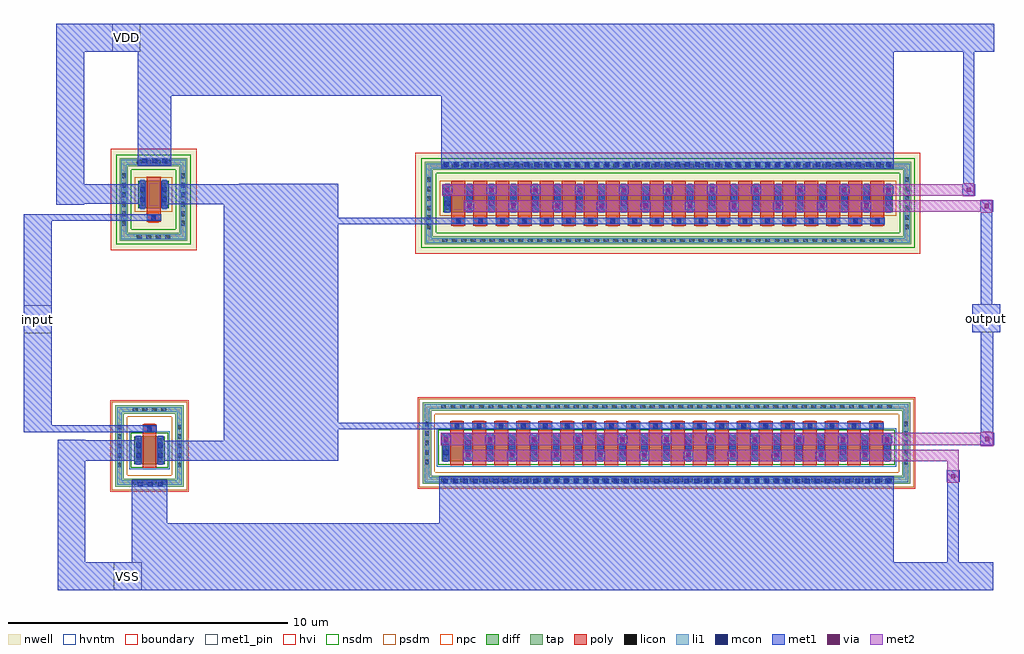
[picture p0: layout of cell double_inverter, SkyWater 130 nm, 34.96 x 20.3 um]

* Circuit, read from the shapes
.subckt double_inverter VDD VSS input output
XM1 sky130_fd_pr__nfet_g5v0d10v5_RGPY9J_2/G0 input VSS VSS sky130_fd_pr__nfet_g5v0d10v5 w=1 l=0.5
XM2 VSS sky130_fd_pr__nfet_g5v0d10v5_RGPY9J_2/G0 output VSS sky130_fd_pr__nfet_g5v0d10v5 w=1 l=0.5 m=20
XM3 sky130_fd_pr__nfet_g5v0d10v5_RGPY9J_2/G0 input VDD VDD sky130_fd_pr__pfet_g5v0d10v5 w=1 l=0.5
XM4 output sky130_fd_pr__nfet_g5v0d10v5_RGPY9J_2/G0 VDD VDD sky130_fd_pr__pfet_g5v0d10v5 w=1 l=0.5 m=20
.ends

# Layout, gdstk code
import gdstk
lib = gdstk.Library(unit=1e-6, precision=1e-09)
def R(c, l, rs):  # rectangles x0, y0, x1, y1
    for r in rs: c.add(gdstk.rectangle(r[:2], r[2:], *l))
def A(c, l, x, y, w, h, nx, ny, dx, dy):  # array of equal rectangles
    R(c, l, [(x+i*dx, y+j*dy, x+i*dx+w, y+j*dy+h) for i in range(nx) for j in range(ny)])
nwell = (64, 20)
diff = (65, 20)
tap = (65, 44)
poly = (66, 20)
licon = (66, 44)
li1 = (67, 20)
mcon = (67, 44)
met1_pin = (68, 16)
met1 = (68, 20)
via = (68, 44)
met2 = (69, 20)
hvi = (75, 20)
nsdm = (93, 44)
psdm = (94, 20)
npc = (95, 20)
hvntm = (125, 20)
boundary = (235, 4)

sky130_fd_pr__nfet_g5v0d = lib.new_cell('sky130_fd_pr__nfet_g5v0d10v5_AWMRGD')
R(sky130_fd_pr__nfet_g5v0d, diff, [(-0.54,-0.655,0.54,0.345)])
R(sky130_fd_pr__nfet_g5v0d, tap, [(-1.22,-1.455,1.22,-1.165), (-1.22,-1.165,-0.93,1.165), (0.93,-1.165,1.22,1.165), (-1.22,1.165,1.22,1.455)])
R(sky130_fd_pr__nfet_g5v0d, poly, [(-0.25,-0.785,0.25,0.785)])
A(sky130_fd_pr__nfet_g5v0d, licon, -0.595, -1.395, 0.17, 0.17, 4, 2, 0.34, 2.62)
A(sky130_fd_pr__nfet_g5v0d, licon, -1.16, -0.765, 0.17, 0.17, 1, 5, 0, 0.34)
A(sky130_fd_pr__nfet_g5v0d, licon, 0.99, -0.765, 0.17, 0.17, 1, 5, 0, 0.34)
A(sky130_fd_pr__nfet_g5v0d, licon, -0.48, -0.58, 0.17, 0.17, 1, 3, 0, 0.34)
A(sky130_fd_pr__nfet_g5v0d, licon, 0.31, -0.58, 0.17, 0.17, 1, 3, 0, 0.34)
R(sky130_fd_pr__nfet_g5v0d, licon, [(-0.085,0.535,0.085,0.705)])
R(sky130_fd_pr__nfet_g5v0d, li1, [(-1.16,-1.395,1.16,-1.225), (-1.16,-1.225,-0.99,1.225), (0.99,-1.225,1.16,1.225), (-0.48,-0.675,-0.31,0.365), (0.31,-0.675,0.48,0.365), (-0.25,0.535,0.25,0.705), (-1.16,1.225,1.16,1.395)])
R(sky130_fd_pr__nfet_g5v0d, mcon, [(-0.48,-0.42,-0.31,-0.25), (0.31,-0.42,0.48,-0.25), (-0.48,-0.06,-0.31,0.11), (0.31,-0.06,0.48,0.11), (-0.085,0.535,0.085,0.705)])
R(sky130_fd_pr__nfet_g5v0d, met1, [(-0.51,-0.655,-0.28,0.345), (0.28,-0.655,0.51,0.345), (-0.23,0.505,0.23,0.735)])
R(sky130_fd_pr__nfet_g5v0d, hvi, [(-1.405,-1.64,1.405,1.64)])
R(sky130_fd_pr__nfet_g5v0d, nsdm, [(-0.665,-0.78,0.665,0.47)])
R(sky130_fd_pr__nfet_g5v0d, psdm, [(-1.345,-1.58,1.345,-1.04), (-1.345,-1.04,-0.805,1.04), (0.805,-1.04,1.345,1.04), (-1.345,1.04,1.345,1.58)])
R(sky130_fd_pr__nfet_g5v0d, npc, [(-0.185,0.435,0.185,0.805)])
R(sky130_fd_pr__nfet_g5v0d, hvntm, [(-0.725,-0.84,0.725,0.53)])
R(sky130_fd_pr__nfet_g5v0d, boundary, [(-1.075,-1.31,1.075,1.31)])
sky130_fd_pr__nfet_g5v0d.add(gdstk.Label('B', (0,-1.31), layer=67, texttype=5))
sky130_fd_pr__nfet_g5v0d.add(gdstk.Label('D', (-0.395,-0.155), layer=67, texttype=5))
sky130_fd_pr__nfet_g5v0d.add(gdstk.Label('S', (0.395,-0.155), layer=67, texttype=5))
sky130_fd_pr__nfet_g5v0d.add(gdstk.Label('G', (0,0.62), layer=67, texttype=5))

sky130_fd_pr__pfet_g5v0d = lib.new_cell('sky130_fd_pr__pfet_g5v0d10v5_2ZQPNU')
R(sky130_fd_pr__pfet_g5v0d, nwell, [(-9.045,-1.81,9.045,1.81)])
R(sky130_fd_pr__pfet_g5v0d, diff, [(-8.045,-0.32,8.045,0.68)])
R(sky130_fd_pr__pfet_g5v0d, tap, [(-8.715,-1.48,8.715,-1.19), (-8.715,-1.19,-8.425,1.19), (8.425,-1.19,8.715,1.19), (-8.715,1.19,8.715,1.48)])
A(sky130_fd_pr__pfet_g5v0d, poly, -7.755, -0.805, 0.5, 1.615, 20, 1, 0.79, 0)
A(sky130_fd_pr__pfet_g5v0d, licon, -8.075, -1.42, 0.17, 0.17, 48, 2, 0.34, 2.67)
A(sky130_fd_pr__pfet_g5v0d, licon, -8.655, -0.935, 0.17, 0.17, 1, 6, 0, 0.34)
A(sky130_fd_pr__pfet_g5v0d, licon, 8.485, -0.935, 0.17, 0.17, 1, 6, 0, 0.34)
A(sky130_fd_pr__pfet_g5v0d, licon, -7.59, -0.725, 0.17, 0.17, 20, 1, 0.79, 0)
A(sky130_fd_pr__pfet_g5v0d, licon, -7.985, -0.245, 0.17, 0.17, 21, 3, 0.79, 0.34)
A(sky130_fd_pr__pfet_g5v0d, li1, -7.755, -0.725, 0.5, 0.17, 20, 1, 0.79, 0)
A(sky130_fd_pr__pfet_g5v0d, li1, -7.985, -0.34, 0.17, 1.04, 21, 1, 0.79, 0)
R(sky130_fd_pr__pfet_g5v0d, li1, [(-8.655,-1.42,8.655,-1.25), (-8.655,-1.25,-8.485,1.25), (8.485,-1.25,8.655,1.25), (-8.655,1.25,8.655,1.42)])
A(sky130_fd_pr__pfet_g5v0d, mcon, -7.59, -0.725, 0.17, 0.17, 20, 1, 0.79, 0)
A(sky130_fd_pr__pfet_g5v0d, mcon, -7.985, -0.085, 0.17, 0.17, 21, 2, 0.79, 0.36)
A(sky130_fd_pr__pfet_g5v0d, met1, -7.735, -0.755, 0.46, 0.23, 20, 1, 0.79, 0)
A(sky130_fd_pr__pfet_g5v0d, met1, -8.015, -0.32, 0.23, 1, 21, 1, 0.79, 0)
R(sky130_fd_pr__pfet_g5v0d, hvi, [(-9.045,-1.81,9.045,1.81)])
R(sky130_fd_pr__pfet_g5v0d, nsdm, [(-8.84,-1.605,8.84,-1.065), (-8.84,-1.065,-8.3,1.065), (8.3,-1.065,8.84,1.065), (-8.84,1.065,8.84,1.605)])
R(sky130_fd_pr__pfet_g5v0d, psdm, [(-8.17,-0.445,8.17,0.805)])
A(sky130_fd_pr__pfet_g5v0d, npc, -7.69, -0.825, 0.37, 0.37, 20, 1, 0.79, 0)
R(sky130_fd_pr__pfet_g5v0d, boundary, [(-8.57,-1.335,8.57,1.335)])
sky130_fd_pr__pfet_g5v0d.add(gdstk.Label('B', (0,-1.335), layer=67, texttype=5))
sky130_fd_pr__pfet_g5v0d.add(gdstk.Label('D0', (-7.9,0.18), layer=67, texttype=5))
sky130_fd_pr__pfet_g5v0d.add(gdstk.Label('G0', (-7.505,-0.64), layer=67, texttype=5))
sky130_fd_pr__pfet_g5v0d.add(gdstk.Label('S1', (-7.11,0.18), layer=67, texttype=5))
sky130_fd_pr__pfet_g5v0d.add(gdstk.Label('G1', (-6.715,-0.64), layer=67, texttype=5))
sky130_fd_pr__pfet_g5v0d.add(gdstk.Label('D2', (-6.32,0.18), layer=67, texttype=5))
sky130_fd_pr__pfet_g5v0d.add(gdstk.Label('G2', (-5.925,-0.64), layer=67, texttype=5))
sky130_fd_pr__pfet_g5v0d.add(gdstk.Label('S3', (-5.53,0.18), layer=67, texttype=5))
sky130_fd_pr__pfet_g5v0d.add(gdstk.Label('G3', (-5.135,-0.64), layer=67, texttype=5))
sky130_fd_pr__pfet_g5v0d.add(gdstk.Label('D4', (-4.74,0.18), layer=67, texttype=5))
sky130_fd_pr__pfet_g5v0d.add(gdstk.Label('G4', (-4.345,-0.64), layer=67, texttype=5))
sky130_fd_pr__pfet_g5v0d.add(gdstk.Label('S5', (-3.95,0.18), layer=67, texttype=5))
sky130_fd_pr__pfet_g5v0d.add(gdstk.Label('G5', (-3.555,-0.64), layer=67, texttype=5))
sky130_fd_pr__pfet_g5v0d.add(gdstk.Label('D6', (-3.16,0.18), layer=67, texttype=5))
sky130_fd_pr__pfet_g5v0d.add(gdstk.Label('G6', (-2.765,-0.64), layer=67, texttype=5))
sky130_fd_pr__pfet_g5v0d.add(gdstk.Label('S7', (-2.37,0.18), layer=67, texttype=5))
sky130_fd_pr__pfet_g5v0d.add(gdstk.Label('G7', (-1.975,-0.64), layer=67, texttype=5))
sky130_fd_pr__pfet_g5v0d.add(gdstk.Label('D8', (-1.58,0.18), layer=67, texttype=5))
sky130_fd_pr__pfet_g5v0d.add(gdstk.Label('G8', (-1.185,-0.64), layer=67, texttype=5))
sky130_fd_pr__pfet_g5v0d.add(gdstk.Label('S9', (-0.79,0.18), layer=67, texttype=5))
sky130_fd_pr__pfet_g5v0d.add(gdstk.Label('G9', (-0.395,-0.64), layer=67, texttype=5))
sky130_fd_pr__pfet_g5v0d.add(gdstk.Label('D10', (0,0.18), layer=67, texttype=5))
sky130_fd_pr__pfet_g5v0d.add(gdstk.Label('G10', (0.395,-0.64), layer=67, texttype=5))
sky130_fd_pr__pfet_g5v0d.add(gdstk.Label('S11', (0.79,0.18), layer=67, texttype=5))
sky130_fd_pr__pfet_g5v0d.add(gdstk.Label('G11', (1.185,-0.64), layer=67, texttype=5))
sky130_fd_pr__pfet_g5v0d.add(gdstk.Label('D12', (1.58,0.18), layer=67, texttype=5))
sky130_fd_pr__pfet_g5v0d.add(gdstk.Label('G12', (1.975,-0.64), layer=67, texttype=5))
sky130_fd_pr__pfet_g5v0d.add(gdstk.Label('S13', (2.37,0.18), layer=67, texttype=5))
sky130_fd_pr__pfet_g5v0d.add(gdstk.Label('G13', (2.765,-0.64), layer=67, texttype=5))
sky130_fd_pr__pfet_g5v0d.add(gdstk.Label('D14', (3.16,0.18), layer=67, texttype=5))
sky130_fd_pr__pfet_g5v0d.add(gdstk.Label('G14', (3.555,-0.64), layer=67, texttype=5))
sky130_fd_pr__pfet_g5v0d.add(gdstk.Label('S15', (3.95,0.18), layer=67, texttype=5))
sky130_fd_pr__pfet_g5v0d.add(gdstk.Label('G15', (4.345,-0.64), layer=67, texttype=5))
sky130_fd_pr__pfet_g5v0d.add(gdstk.Label('D16', (4.74,0.18), layer=67, texttype=5))
sky130_fd_pr__pfet_g5v0d.add(gdstk.Label('G16', (5.135,-0.64), layer=67, texttype=5))
sky130_fd_pr__pfet_g5v0d.add(gdstk.Label('S17', (5.53,0.18), layer=67, texttype=5))
sky130_fd_pr__pfet_g5v0d.add(gdstk.Label('G17', (5.925,-0.64), layer=67, texttype=5))
sky130_fd_pr__pfet_g5v0d.add(gdstk.Label('D18', (6.32,0.18), layer=67, texttype=5))
sky130_fd_pr__pfet_g5v0d.add(gdstk.Label('G18', (6.715,-0.64), layer=67, texttype=5))
sky130_fd_pr__pfet_g5v0d.add(gdstk.Label('S19', (7.11,0.18), layer=67, texttype=5))
sky130_fd_pr__pfet_g5v0d.add(gdstk.Label('G19', (7.505,-0.64), layer=67, texttype=5))

c_sky130_fd_pr__nfet_g5v0d = lib.new_cell('sky130_fd_pr__nfet_g5v0d10v5_RGPY9J')
R(c_sky130_fd_pr__nfet_g5v0d, diff, [(-8.045,-0.655,8.045,0.345)])
R(c_sky130_fd_pr__nfet_g5v0d, tap, [(-8.725,-1.455,8.725,-1.165), (-8.725,-1.165,-8.435,1.165), (8.435,-1.165,8.725,1.165), (-8.725,1.165,8.725,1.455)])
A(c_sky130_fd_pr__nfet_g5v0d, poly, -7.755, -0.785, 0.5, 1.57, 20, 1, 0.79, 0)
A(c_sky130_fd_pr__nfet_g5v0d, licon, -8.075, -1.395, 0.17, 0.17, 48, 2, 0.34, 2.62)
A(c_sky130_fd_pr__nfet_g5v0d, licon, -8.665, -0.765, 0.17, 0.17, 1, 5, 0, 0.34)
A(c_sky130_fd_pr__nfet_g5v0d, licon, 8.495, -0.765, 0.17, 0.17, 1, 5, 0, 0.34)
A(c_sky130_fd_pr__nfet_g5v0d, licon, -7.985, -0.58, 0.17, 0.17, 21, 3, 0.79, 0.34)
A(c_sky130_fd_pr__nfet_g5v0d, licon, -7.59, 0.535, 0.17, 0.17, 20, 1, 0.79, 0)
A(c_sky130_fd_pr__nfet_g5v0d, li1, -7.985, -0.675, 0.17, 1.04, 21, 1, 0.79, 0)
A(c_sky130_fd_pr__nfet_g5v0d, li1, -7.755, 0.535, 0.5, 0.17, 20, 1, 0.79, 0)
R(c_sky130_fd_pr__nfet_g5v0d, li1, [(-8.665,-1.395,8.665,-1.225), (-8.665,-1.225,-8.495,1.225), (8.495,-1.225,8.665,1.225), (-8.665,1.225,8.665,1.395)])
A(c_sky130_fd_pr__nfet_g5v0d, mcon, -7.985, -0.42, 0.17, 0.17, 21, 2, 0.79, 0.36)
A(c_sky130_fd_pr__nfet_g5v0d, mcon, -7.59, 0.535, 0.17, 0.17, 20, 1, 0.79, 0)
A(c_sky130_fd_pr__nfet_g5v0d, met1, -8.015, -0.655, 0.23, 1, 21, 1, 0.79, 0)
A(c_sky130_fd_pr__nfet_g5v0d, met1, -7.735, 0.505, 0.46, 0.23, 20, 1, 0.79, 0)
R(c_sky130_fd_pr__nfet_g5v0d, hvi, [(-8.91,-1.64,8.91,1.64)])
R(c_sky130_fd_pr__nfet_g5v0d, nsdm, [(-8.17,-0.78,8.17,0.47)])
R(c_sky130_fd_pr__nfet_g5v0d, psdm, [(-8.85,-1.58,8.85,-1.04), (-8.85,-1.04,-8.31,1.04), (8.31,-1.04,8.85,1.04), (-8.85,1.04,8.85,1.58)])
A(c_sky130_fd_pr__nfet_g5v0d, npc, -7.69, 0.435, 0.37, 0.37, 20, 1, 0.79, 0)
R(c_sky130_fd_pr__nfet_g5v0d, hvntm, [(-8.23,-0.84,8.23,0.53)])
R(c_sky130_fd_pr__nfet_g5v0d, boundary, [(-8.58,-1.31,8.58,1.31)])
c_sky130_fd_pr__nfet_g5v0d.add(gdstk.Label('B', (0,-1.31), layer=67, texttype=5))
c_sky130_fd_pr__nfet_g5v0d.add(gdstk.Label('D0', (-7.9,-0.155), layer=67, texttype=5))
c_sky130_fd_pr__nfet_g5v0d.add(gdstk.Label('G0', (-7.505,0.62), layer=67, texttype=5))
c_sky130_fd_pr__nfet_g5v0d.add(gdstk.Label('S1', (-7.11,-0.155), layer=67, texttype=5))
c_sky130_fd_pr__nfet_g5v0d.add(gdstk.Label('G1', (-6.715,0.62), layer=67, texttype=5))
c_sky130_fd_pr__nfet_g5v0d.add(gdstk.Label('D2', (-6.32,-0.155), layer=67, texttype=5))
c_sky130_fd_pr__nfet_g5v0d.add(gdstk.Label('G2', (-5.925,0.62), layer=67, texttype=5))
c_sky130_fd_pr__nfet_g5v0d.add(gdstk.Label('S3', (-5.53,-0.155), layer=67, texttype=5))
c_sky130_fd_pr__nfet_g5v0d.add(gdstk.Label('G3', (-5.135,0.62), layer=67, texttype=5))
c_sky130_fd_pr__nfet_g5v0d.add(gdstk.Label('D4', (-4.74,-0.155), layer=67, texttype=5))
c_sky130_fd_pr__nfet_g5v0d.add(gdstk.Label('G4', (-4.345,0.62), layer=67, texttype=5))
c_sky130_fd_pr__nfet_g5v0d.add(gdstk.Label('S5', (-3.95,-0.155), layer=67, texttype=5))
c_sky130_fd_pr__nfet_g5v0d.add(gdstk.Label('G5', (-3.555,0.62), layer=67, texttype=5))
c_sky130_fd_pr__nfet_g5v0d.add(gdstk.Label('D6', (-3.16,-0.155), layer=67, texttype=5))
c_sky130_fd_pr__nfet_g5v0d.add(gdstk.Label('G6', (-2.765,0.62), layer=67, texttype=5))
c_sky130_fd_pr__nfet_g5v0d.add(gdstk.Label('S7', (-2.37,-0.155), layer=67, texttype=5))
c_sky130_fd_pr__nfet_g5v0d.add(gdstk.Label('G7', (-1.975,0.62), layer=67, texttype=5))
c_sky130_fd_pr__nfet_g5v0d.add(gdstk.Label('D8', (-1.58,-0.155), layer=67, texttype=5))
c_sky130_fd_pr__nfet_g5v0d.add(gdstk.Label('G8', (-1.185,0.62), layer=67, texttype=5))
c_sky130_fd_pr__nfet_g5v0d.add(gdstk.Label('S9', (-0.79,-0.155), layer=67, texttype=5))
c_sky130_fd_pr__nfet_g5v0d.add(gdstk.Label('G9', (-0.395,0.62), layer=67, texttype=5))
c_sky130_fd_pr__nfet_g5v0d.add(gdstk.Label('D10', (0,-0.155), layer=67, texttype=5))
c_sky130_fd_pr__nfet_g5v0d.add(gdstk.Label('G10', (0.395,0.62), layer=67, texttype=5))
c_sky130_fd_pr__nfet_g5v0d.add(gdstk.Label('S11', (0.79,-0.155), layer=67, texttype=5))
c_sky130_fd_pr__nfet_g5v0d.add(gdstk.Label('G11', (1.185,0.62), layer=67, texttype=5))
c_sky130_fd_pr__nfet_g5v0d.add(gdstk.Label('D12', (1.58,-0.155), layer=67, texttype=5))
c_sky130_fd_pr__nfet_g5v0d.add(gdstk.Label('G12', (1.975,0.62), layer=67, texttype=5))
c_sky130_fd_pr__nfet_g5v0d.add(gdstk.Label('S13', (2.37,-0.155), layer=67, texttype=5))
c_sky130_fd_pr__nfet_g5v0d.add(gdstk.Label('G13', (2.765,0.62), layer=67, texttype=5))
c_sky130_fd_pr__nfet_g5v0d.add(gdstk.Label('D14', (3.16,-0.155), layer=67, texttype=5))
c_sky130_fd_pr__nfet_g5v0d.add(gdstk.Label('G14', (3.555,0.62), layer=67, texttype=5))
c_sky130_fd_pr__nfet_g5v0d.add(gdstk.Label('S15', (3.95,-0.155), layer=67, texttype=5))
c_sky130_fd_pr__nfet_g5v0d.add(gdstk.Label('G15', (4.345,0.62), layer=67, texttype=5))
c_sky130_fd_pr__nfet_g5v0d.add(gdstk.Label('D16', (4.74,-0.155), layer=67, texttype=5))
c_sky130_fd_pr__nfet_g5v0d.add(gdstk.Label('G16', (5.135,0.62), layer=67, texttype=5))
c_sky130_fd_pr__nfet_g5v0d.add(gdstk.Label('S17', (5.53,-0.155), layer=67, texttype=5))
c_sky130_fd_pr__nfet_g5v0d.add(gdstk.Label('G17', (5.925,0.62), layer=67, texttype=5))
c_sky130_fd_pr__nfet_g5v0d.add(gdstk.Label('D18', (6.32,-0.155), layer=67, texttype=5))
c_sky130_fd_pr__nfet_g5v0d.add(gdstk.Label('G18', (6.715,0.62), layer=67, texttype=5))
c_sky130_fd_pr__nfet_g5v0d.add(gdstk.Label('S19', (7.11,-0.155), layer=67, texttype=5))
c_sky130_fd_pr__nfet_g5v0d.add(gdstk.Label('G19', (7.505,0.62), layer=67, texttype=5))

c_sky130_fd_pr__pfet_g5v0d = lib.new_cell('sky130_fd_pr__pfet_g5v0d10v5_CRUJC2')
R(c_sky130_fd_pr__pfet_g5v0d, nwell, [(-1.54,-1.81,1.54,1.81)])
R(c_sky130_fd_pr__pfet_g5v0d, diff, [(-0.54,-0.32,0.54,0.68)])
R(c_sky130_fd_pr__pfet_g5v0d, tap, [(-1.21,-1.48,1.21,-1.19), (-1.21,-1.19,-0.92,1.19), (0.92,-1.19,1.21,1.19), (-1.21,1.19,1.21,1.48)])
R(c_sky130_fd_pr__pfet_g5v0d, poly, [(-0.25,-0.805,0.25,0.81)])
A(c_sky130_fd_pr__pfet_g5v0d, licon, -0.595, -1.42, 0.17, 0.17, 4, 2, 0.34, 2.67)
A(c_sky130_fd_pr__pfet_g5v0d, licon, -1.15, -0.935, 0.17, 0.17, 1, 6, 0, 0.34)
A(c_sky130_fd_pr__pfet_g5v0d, licon, 0.98, -0.935, 0.17, 0.17, 1, 6, 0, 0.34)
A(c_sky130_fd_pr__pfet_g5v0d, licon, -0.48, -0.245, 0.17, 0.17, 1, 3, 0, 0.34)
A(c_sky130_fd_pr__pfet_g5v0d, licon, 0.31, -0.245, 0.17, 0.17, 1, 3, 0, 0.34)
R(c_sky130_fd_pr__pfet_g5v0d, licon, [(-0.085,-0.725,0.085,-0.555)])
R(c_sky130_fd_pr__pfet_g5v0d, li1, [(-1.15,-1.42,1.15,-1.25), (-1.15,-1.25,-0.98,1.25), (0.98,-1.25,1.15,1.25), (-0.25,-0.725,0.25,-0.555), (-0.48,-0.34,-0.31,0.7), (0.31,-0.34,0.48,0.7), (-1.15,1.25,1.15,1.42)])
R(c_sky130_fd_pr__pfet_g5v0d, mcon, [(-0.085,-0.725,0.085,-0.555), (-0.48,-0.085,-0.31,0.085), (0.31,-0.085,0.48,0.085), (-0.48,0.275,-0.31,0.445), (0.31,0.275,0.48,0.445)])
R(c_sky130_fd_pr__pfet_g5v0d, met1, [(-0.23,-0.755,0.23,-0.525), (-0.51,-0.32,-0.28,0.68), (0.28,-0.32,0.51,0.68)])
R(c_sky130_fd_pr__pfet_g5v0d, hvi, [(-1.54,-1.81,1.54,1.81)])
R(c_sky130_fd_pr__pfet_g5v0d, nsdm, [(-1.335,-1.605,1.335,-1.065), (-1.335,-1.065,-0.795,1.065), (0.795,-1.065,1.335,1.065), (-1.335,1.065,1.335,1.605)])
R(c_sky130_fd_pr__pfet_g5v0d, psdm, [(-0.665,-0.445,0.665,0.805)])
R(c_sky130_fd_pr__pfet_g5v0d, npc, [(-0.185,-0.825,0.185,-0.455)])
R(c_sky130_fd_pr__pfet_g5v0d, boundary, [(-1.065,-1.335,1.065,1.335)])
c_sky130_fd_pr__pfet_g5v0d.add(gdstk.Label('B', (0,-1.335), layer=67, texttype=5))
c_sky130_fd_pr__pfet_g5v0d.add(gdstk.Label('D', (-0.395,0.18), layer=67, texttype=5))
c_sky130_fd_pr__pfet_g5v0d.add(gdstk.Label('S', (0.395,0.18), layer=67, texttype=5))
c_sky130_fd_pr__pfet_g5v0d.add(gdstk.Label('G', (0,-0.64), layer=67, texttype=5))

double_inverter = lib.new_cell('double_inverter')
R(double_inverter, li1, [(18.91,-11.44,20.05,-11.24), (29.89,-11.33,46.06,-11.13), (29.97,0,46.04,0.2), (19.11,0.14,20.18,0.32)])
A(double_inverter, mcon, 19.035, -11.425, 0.17, 0.17, 3, 1, 0.36, 0)
A(double_inverter, mcon, 29.97, -11.315, 0.17, 0.17, 45, 1, 0.36, 0)
A(double_inverter, mcon, 30, 0.015, 0.17, 0.17, 45, 1, 0.36, 0)
A(double_inverter, mcon, 19.2, 0.145, 0.17, 0.17, 3, 1, 0.36, 0)
R(double_inverter, met1_pin, [(18.18,-15.15,19.18,-14.15), (14.96,-5.94,15.96,-4.94), (48.92,-5.91,49.92,-4.91), (18.13,4.15,19.13,5.15)])
A(double_inverter, met1, 30.67, -10.45, 0.37, 0.27, 10, 1, 1.58, 0)
A(double_inverter, met1, 29.89, -9.88, 0.37, 0.27, 11, 1, 1.58, 0)
A(double_inverter, met1, 30.72, -1.52, 0.37, 0.27, 10, 1, 1.58, 0)
A(double_inverter, met1, 29.94, -0.94, 0.37, 0.27, 11, 1, 1.58, 0)
R(double_inverter, met1, [(16.16,-15.15,49.67,-14.15), (16.16,-14.15,17.16,-10.5), (18.82,-14.15,46.12,-12.74), (48.035,-14.15,48.445,-11.265), (18.82,-12.74,20.1,-11.18), (29.83,-12.74,46.12,-11.06), (48.005,-11.265,48.475,-10.855), (19.75,-10.51,26.21,-9.79), (16.16,-10.5,19.16,-9.78), (49.205,-9.95,49.715,-9.5), (22.12,-9.79,26.21,-9.38), (16.16,-9.78,17.16,-9.75), (49.235,-9.5,49.685,-5.91), (14.96,-9.48,19.72,-9.24), (22.12,-9.38,45.75,-9.14), (14.96,-9.24,15.96,-1.91), (22.12,-9.14,26.21,-2.04), (48.92,-5.91,49.92,-4.91), (49.235,-4.91,49.645,-1.59), (22.12,-2.04,45.79,-1.8), (14.96,-1.91,19.88,-1.67), (22.12,-1.8,26.21,-1.32), (49.205,-1.59,49.675,-1.18), (16.11,-1.33,17.11,-1.3), (19.89,-1.32,26.21,-0.6), (16.11,-1.3,19.31,-0.6), (48.565,-1.01,49.035,-0.6), (16.11,-0.6,17.11,4.15), (22.66,-0.6,26.21,-0.59), (48.595,-0.6,49.005,4.15), (29.91,-0.05,46.11,2.57), (19.03,0.06,20.23,2.57), (19.03,2.57,46.11,4.15), (16.11,4.15,49.71,5.15)])
A(double_inverter, via, 30.78, -10.39, 0.15, 0.15, 10, 1, 1.58, 0)
A(double_inverter, via, 30, -9.82, 0.15, 0.15, 11, 1, 1.58, 0)
A(double_inverter, via, 30.83, -1.46, 0.15, 0.15, 10, 1, 1.58, 0)
A(double_inverter, via, 30.05, -0.88, 0.15, 0.15, 11, 1, 1.58, 0)
R(double_inverter, via, [(48.165,-11.135,48.315,-10.985), (49.385,-9.8,49.535,-9.65), (49.365,-1.46,49.515,-1.31), (48.725,-0.88,48.875,-0.73)])
R(double_inverter, met2, [(48.035,-11.295,48.445,-10.52), (30.67,-10.52,48.445,-10.11), (49.235,-9.98,49.685,-9.95), (29.89,-9.95,49.685,-9.5), (49.235,-9.5,49.685,-9.47), (49.235,-1.62,49.645,-1.59), (30.72,-1.59,49.645,-1.18), (49.235,-1.18,49.645,-1.15), (48.595,-1.04,49.005,-1.01), (29.94,-1.01,49.005,-0.6), (48.595,-0.6,49.005,-0.57)])
double_inverter.add(gdstk.Reference(sky130_fd_pr__nfet_g5v0d, (19.455,-9.98)))
double_inverter.add(gdstk.Reference(sky130_fd_pr__pfet_g5v0d, (38.025,-1.28)))
double_inverter.add(gdstk.Reference(c_sky130_fd_pr__nfet_g5v0d, (37.975,-9.875)))
double_inverter.add(gdstk.Reference(c_sky130_fd_pr__pfet_g5v0d, (19.6,-1.15)))
double_inverter.add(gdstk.Label('VDD', (18.63,4.65), layer=68, texttype=5))
double_inverter.add(gdstk.Label('VSS', (18.68,-14.65), layer=68, texttype=5))
double_inverter.add(gdstk.Label('output', (49.42,-5.41), layer=68, texttype=5))
double_inverter.add(gdstk.Label('input', (15.46,-5.44), layer=68, texttype=5))

lib.write_gds('double_inverter.gds')
